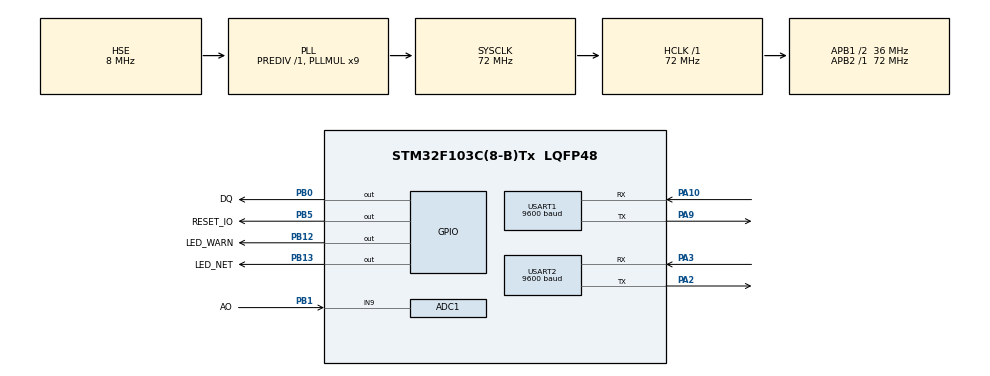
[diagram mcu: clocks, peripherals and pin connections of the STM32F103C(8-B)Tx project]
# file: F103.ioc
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ADC1.Channel-0\#ChannelRegularConversion=ADC_CHANNEL_9
ADC1.NbrOfConversionFlag=1
ADC1.Rank-0\#ChannelRegularConversion=1
ADC1.SamplingTime-0\#ChannelRegularConversion=ADC_SAMPLETIME_1CYCLE_5
ADC1.master=1
Mcu.Family=STM32F1
Mcu.Name=STM32F103C(8-B)Tx
Mcu.Package=LQFP48
NVIC.PriorityGroup=NVIC_PRIORITYGROUP_4
NVIC.RTC_IRQn=true\:2\:0\:true\:false\:true\:true\:true
NVIC.USART2_IRQn=true\:1\:0\:true\:false\:true\:true\:true
PA10.Mode=Asynchronous
PA10.Signal=USART1_RX
PA13.Mode=Serial_Wire
PA13.Signal=SYS_JTMS-SWDIO
PA14.Mode=Serial_Wire
PA14.Signal=SYS_JTCK-SWCLK
PA2.Mode=Asynchronous
PA2.Signal=USART2_TX
PA3.Mode=Asynchronous
PA3.Signal=USART2_RX
PA9.Mode=Asynchronous
PA9.Signal=USART1_TX
PB0.GPIO_Label=DQ
PB0.Signal=GPIO_Output
PB1.GPIO_Label=AO
PB1.Signal=ADCx_IN9
PB12.GPIO_Label=LED_WARN
PB12.PinState=GPIO_PIN_SET
PB12.Signal=GPIO_Output
PB13.GPIO_Label=LED_NET
PB13.PinState=GPIO_PIN_SET
PB13.Signal=GPIO_Output
PB5.GPIO_Label=RESET_IO
PB5.Signal=GPIO_Output
PC14-OSC32_IN.Mode=LSE-External-Oscillator
PC14-OSC32_IN.Signal=RCC_OSC32_IN
PC15-OSC32_OUT.Mode=LSE-External-Oscillator
PC15-OSC32_OUT.Signal=RCC_OSC32_OUT
PD0-OSC_IN.Mode=HSE-External-Oscillator
PD0-OSC_IN.Signal=RCC_OSC_IN
PD1-OSC_OUT.Mode=HSE-External-Oscillator
PD1-OSC_OUT.Signal=RCC_OSC_OUT
ProjectManager.HeapSize=0x200
ProjectManager.StackSize=0x400
ProjectManager.TargetToolchain=MDK-ARM V5.27
RCC.ADCPresc=RCC_ADCPCLK2_DIV6
RCC.AHBFreq_Value=72000000
RCC.APB1CLKDivider=RCC_HCLK_DIV2
RCC.APB1Freq_Value=36000000
RCC.APB1TimFreq_Value=72000000
RCC.APB2Freq_Value=72000000
RCC.APB2TimFreq_Value=72000000
RCC.EnbaleCSS=true
RCC.HCLKFreq_Value=72000000
RCC.PLLMUL=RCC_PLL_MUL9
RCC.PLLSourceVirtual=RCC_PLLSOURCE_HSE
RCC.RTCClockSelection=RCC_RTCCLKSOURCE_LSE
RCC.SYSCLKFreq_VALUE=72000000
RCC.SYSCLKSource=RCC_SYSCLKSOURCE_PLLCLK
RCC.USBFreq_Value=72000000
RCC.VDD_VALUE=3.6
RTC.AutoPrediv=RTC_AUTO_1_SECOND
SH.ADCx_IN9.0=ADC1_IN9,IN9
TIM2.AutoReloadPreload=TIM_AUTORELOAD_PRELOAD_ENABLE
TIM2.Period=65535
TIM2.Prescaler=71
USART1.BaudRate=9600
USART1.VirtualMode=VM_ASYNC
USART2.BaudRate=9600
USART2.VirtualMode=VM_ASYNC
VP_RTC_VS_RTC_Activate.Mode=RTC_Enabled
VP_RTC_VS_RTC_Calendar.Mode=RTC_Calendar
VP_TIM2_VS_ClockSourceINT.Mode=Internal
board=custom

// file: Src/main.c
/* USER CODE BEGIN Header */
/**
  ******************************************************************************
  * @file           : main.c
  * @brief          : Main program body
  ******************************************************************************
  * @attention
  *
  * <h2><center>&copy; Copyright (c) 2019 STMicroelectronics.
  * All rights reserved.</center></h2>
  *
  * This software component is licensed by ST under BSD 3-Clause license,
  * the "License"; You may not use this file except in compliance with the
  * License. You may obtain a copy of the License at:
  *                        opensource.org/licenses/BSD-3-Clause
  *
  ******************************************************************************
  */
/* USER CODE END Header */

#include "main.h"
#include "adc.h"
#include "rtc.h"
#include "tim.h"
#include "usart.h"
#include "gpio.h"

void SystemClock_Config(void);

int main(void)
{

  /* MCU Configuration--------------------------------------------------------*/

  /* Reset of all peripherals, Initializes the Flash interface and the Systick. */
  HAL_Init();

  /* Configure the system clock */
  SystemClock_Config();

  /* Initialize all configured peripherals */
  MX_GPIO_Init();
  MX_USART1_UART_Init();
  MX_USART2_UART_Init();
  MX_ADC1_Init();
  MX_TIM2_Init();
  MX_RTC_Init();
  /* USER CODE BEGIN 2 */
//	check the state of HSE/LSE/PLL
//  bool flag;
//  flag = __HAL_RCC_GET_FLAG(RCC_FLAG_IWDGRST);
//  printf("%d\r\n", flag);

	printf("Init DS18B20\r\n");
	while(DS18B20_Init())	//DS18B20初始化
	{
		printf("DS18B20 Error\r\n");
 		HAL_Delay(2000);
	}
	DS18B20_Get_Temp();			//The first reading is 85'C, ignore it.
	printf("DS18B20 OK\r\n");

	printf("Init M5310A\n");
	M5310A_Hardware_Init();
	if(!M5310A_Api_Init())
	{
		while(1)
		{
			printf("Init M5310A fail\n");
			HAL_Delay(1000);
		}
	}
	else{
		printf("Init M5310A success\n");
		HAL_RTCEx_SetSecond_IT(&hrtc);		//Enter RTC_IT per second
		HAL_GPIO_WritePin(LED_NET_GPIO_Port, LED_NET_Pin, GPIO_PIN_RESET);
	}
  /* USER CODE END 2 */

  /* Infinite loop */
  while (1)
  {

  }
}

void SystemClock_Config(void)
{
  RCC_OscInitTypeDef RCC_OscInitStruct = {0};
  RCC_ClkInitTypeDef RCC_ClkInitStruct = {0};
  RCC_PeriphCLKInitTypeDef PeriphClkInit = {0};

  /** Initializes the CPU, AHB and APB busses clocks
  */
  RCC_OscInitStruct.OscillatorType = RCC_OSCILLATORTYPE_HSE|RCC_OSCILLATORTYPE_LSE;
  RCC_OscInitStruct.HSEState = RCC_HSE_ON;
  RCC_OscInitStruct.HSEPredivValue = RCC_HSE_PREDIV_DIV1;
  RCC_OscInitStruct.LSEState = RCC_LSE_ON;
  RCC_OscInitStruct.HSIState = RCC_HSI_ON;
  RCC_OscInitStruct.PLL.PLLState = RCC_PLL_ON;
  RCC_OscInitStruct.PLL.PLLSource = RCC_PLLSOURCE_HSE;
  RCC_OscInitStruct.PLL.PLLMUL = RCC_PLL_MUL9;
  if (HAL_RCC_OscConfig(&RCC_OscInitStruct) != HAL_OK)
  {
    Error_Handler();
  }
  /** Initializes the CPU, AHB and APB busses clocks
  */
  RCC_ClkInitStruct.ClockType = RCC_CLOCKTYPE_HCLK|RCC_CLOCKTYPE_SYSCLK
                              |RCC_CLOCKTYPE_PCLK1|RCC_CLOCKTYPE_PCLK2;
  RCC_ClkInitStruct.SYSCLKSource = RCC_SYSCLKSOURCE_PLLCLK;
  RCC_ClkInitStruct.AHBCLKDivider = RCC_SYSCLK_DIV1;
  RCC_ClkInitStruct.APB1CLKDivider = RCC_HCLK_DIV2;
  RCC_ClkInitStruct.APB2CLKDivider = RCC_HCLK_DIV1;

  if (HAL_RCC_ClockConfig(&RCC_ClkInitStruct, FLASH_LATENCY_2) != HAL_OK)
  {
    Error_Handler();
  }
  PeriphClkInit.PeriphClockSelection = RCC_PERIPHCLK_RTC|RCC_PERIPHCLK_ADC;
  PeriphClkInit.RTCClockSelection = RCC_RTCCLKSOURCE_LSE;
  PeriphClkInit.AdcClockSelection = RCC_ADCPCLK2_DIV6;
  if (HAL_RCCEx_PeriphCLKConfig(&PeriphClkInit) != HAL_OK)
  {
    Error_Handler();
  }
  /** Enables the Clock Security System
  */
  HAL_RCC_EnableCSS();
}

void Error_Handler(void)
{
}

/************************ (C) COPYRIGHT STMicroelectronics *****END OF FILE****/
